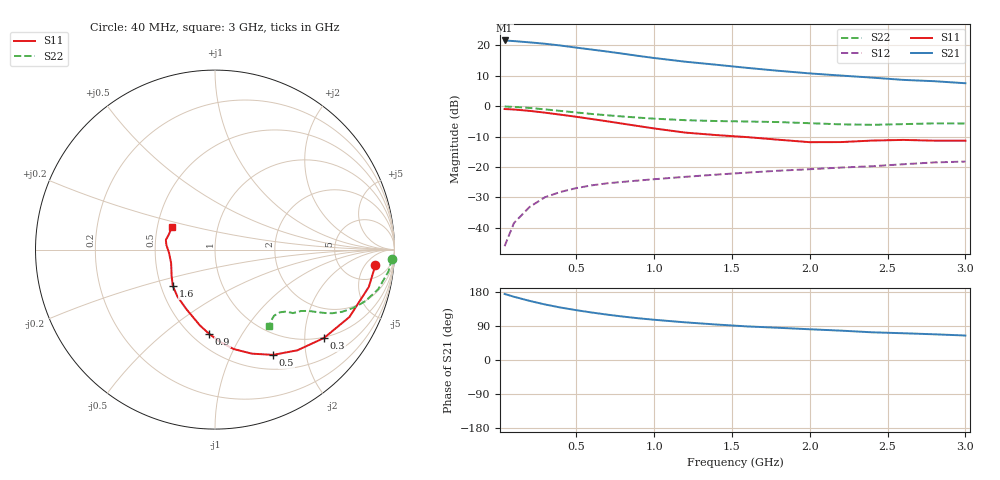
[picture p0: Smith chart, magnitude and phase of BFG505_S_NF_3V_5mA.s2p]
! Filename:  BFG505E.S2P  Version:  3.0
! Philips part #: BFG505  Date: Feb 1992
! Bias condition: Vce=3V, Ic=5mA
! IN LINE PINNING: same data as with cross emitter pinning.
#  MHz  S  MA  R  50
! Freq  S11  S21  S12  S22  !GUM [dB]
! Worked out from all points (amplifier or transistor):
!   21 points, 40 MHz to 3 GHz, reference 50 ohm
!   highest |S21| = 21.6 dB at 40 MHz (marker M1)
!   |S21| within 3 dB of that: start of sweep to 600 MHz
!   unconditionally stable (mu >= 1): 1.796 GHz to end of sweep
!   at 300 MHz: K = 0.26, MSG = 25.2 dB, |S12| = -29.9 dB
!   at 1 GHz: K = 0.72, MSG = 19.9 dB, |S12| = -24.0 dB
!   at 3 GHz: K = 1.18, MAG = 10.3 dB, |S12| = -18.2 dB
!   lowest NFmin = 1.60 dB at 900 MHz
!   S11 on the Smith chart (normalised r, x): 40 MHz: 10, -9; 300 MHz: 0.98, -2.49; 500 MHz: 0.69, -1.46; 900 MHz: 0.61, -0.73; 1.6 GHz: 0.58, -0.26; 3 GHz: 0.60, +0.16
40  0.898 -5.5  12.04 174.3  0.005 85.2  0.987 -2.9
100  0.882 -13.6  11.75 166.9  0.012 82.1  0.974 -7.2
200  0.838 -26.6  11.2 156.1  0.022 74.2  0.936 -13.6
300  0.782 -39.0  10.62 146.5  0.032 68.2  0.886 -18.9
400  0.725 -50.7  9.93 138.4  0.039 64.1  0.836 -22.9
500  0.67 -61.1  9.18 131.5  0.045 60.6  0.788 -26.1
600  0.615 -70.5  8.52 125.3  0.05 58.7  0.745 -28.4
700  0.564 -79.3  7.901 119.7  0.054 57.0  0.709 -29.9
800  0.515 -86.9  7.294 114.6  0.057 55.9  0.677 -31.1
900  0.471 -93.9  6.705 110.1  0.06 55.1  0.648 -32.2
1000  0.431 -101.2  6.198 106.2  0.063 55.0  0.624 -33.2
1200  0.368 -115.7  5.387 99.4  0.069 55.0  0.589 -35.5
1400  0.335 -128.7  4.8 93.6  0.075 55.1  0.57 -37.8
1600  0.31 -139.4  4.259 88.6  0.081 56.6  0.56 -39.2
1800  0.281 -149.4  3.815 85.0  0.087 57.4  0.548 -39.8
2000  0.256 -162.7  3.456 81.1  0.092 57.9  0.525 -41.1
2200  0.257 -176.3  3.188 77.5  0.098 58.0  0.503 -44.0
2400  0.272 174.6  2.949 73.1  0.103 58.7  0.494 -48.3
2600  0.279 168.8  2.707 70.6  0.111 59.7  0.507 -52.3
2800  0.271 162.3  2.574 67.8  0.119 59.9  0.522 -54.2
3000  0.271 152.2  2.384 64.6  0.123 60.8  0.52 -54.9
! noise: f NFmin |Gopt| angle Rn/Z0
900  1.6  0.508  18  0.6
2000  2.2  0.37  46  0.47
